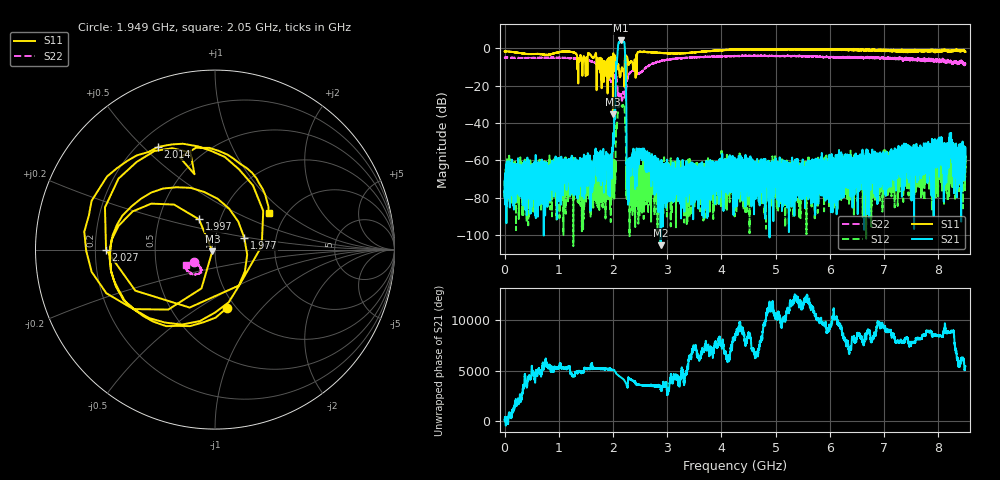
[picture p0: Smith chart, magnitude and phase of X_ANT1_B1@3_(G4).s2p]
#  HZ  S  RI  R  50.00
! Rohde & Schwarz Vector Network Analyzer
! Rohde-Schwarz,ZNBT8-20Port,1318700624101681,3.50
! Created: UTC 7/15/2025, 2:08:42 PM
! freq[Hz]  re:S1010  im:S1010  re:S0310  im:S0310  re:S1003  im:S1003  re:S33  im:S33
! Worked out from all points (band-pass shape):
!   8500 points, 1 MHz to 8.5 GHz, reference 50 ohm
!   highest |S21| = 4.19 dB at 2.143 GHz (marker M1); lowest = -105.5 dB at 2.878 GHz (marker M2)
!   |S21| within 3 dB of the highest: 2.093 GHz to 2.216 GHz (122.4 MHz wide, 5.68 % of centre)
!   lowest |S11| = -35.3 dB at 1.998 GHz (marker M3), VSWR 1.03, Z = 48.5 - j0.846 ohm
!   |S11| at or under -10 dB: 2.053 GHz to 2.083 GHz (30.43 MHz wide, 1.47 % of centre); 2.105 GHz to 2.214 GHz (109.1 MHz wide, 5.05 % of centre); 2.369 GHz to 2.383 GHz (14.09 MHz wide, 0.593 % of centre)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
!   |S22| runs from -28.5 to -3.8 dB; largest |S21 - S12| = 1.6
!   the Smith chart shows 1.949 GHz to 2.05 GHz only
!   S11 on the Smith chart (normalised r, x): 1.949 GHz: 0.90, -0.67; 1.977 GHz: 1.37, +0.19; 1.997 GHz: 0.79, +0.28; 2.014 GHz: 0.28, +0.55; 2.027 GHz: 0.24, +0.00; 2.05 GHz: 1.62, +0.77
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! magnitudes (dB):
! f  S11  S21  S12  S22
! 1 MHz  -1.7  -76.6  -70.7  -4.9
! 1.418 GHz  -5.1  -72.7  -64.3  -5.7
! 1.949 GHz  -9.5  -62.0  -65.3  -17.3
! 1.977 GHz  -15.1  -60.8  -80.3  -17.6
! 1.997 GHz  -14.4  -53.1  -69.0  -17.4
! 1.998 GHz  -35.3  -51.8  -65.1  -17.3
! 2.014 GHz  -3.7  -50.6  -73.6  -15.9
! 2.027 GHz  -4.3  -33.0  -66.5  -14.7
! 2.05 GHz  -8.8  -19.8  -53.1  -14.7
! 2.093 GHz  -8.6  1.1  -33.3  -24.1
! 2.143 GHz  -13.6  4.2  -30.2  -24.9
! 2.205 GHz  -13.9  3.2  -31.1  -23.5
! 2.293 GHz  -8.5  -82.0  -71.0  -14.0
! 2.523 GHz  -2.0  -55.8  -76.4  -12.7
! 2.834 GHz  -2.5  -59.3  -65.2  -7.2
! 2.878 GHz  -2.4  -105.5  -65.0  -6.8
! 4.251 GHz  -0.7  -68.5  -61.7  -4.1
! 5.667 GHz  -0.4  -70.2  -61.9  -4.3
! 7.084 GHz  -1.1  -67.1  -66.8  -5.3
! 8.125 GHz  -0.8  -57.9  -63.6  -7.2
! 8.234 GHz  -1.5  -50.6  -59.2  -7.6
! 8.5 GHz  -2.0  -61.8  -61.0  -8.4
